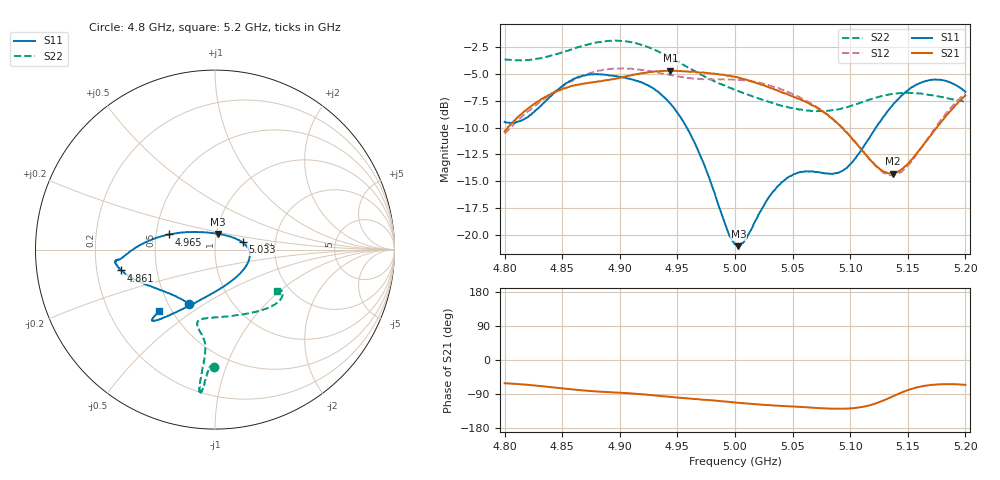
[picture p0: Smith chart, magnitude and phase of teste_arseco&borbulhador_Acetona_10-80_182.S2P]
! Network Analyzer HP8722D
! Hewlett-Packard
! Data name: Linha & Wilkinson
! Saver's name: Rodrigo Anjos
! Comments: Teste da utilização de aquisição
! continua pelo VNA HP8722D
! Time and date: 17/4/2025 15:52
!  Frequency  S11  S21  S12  S22
# HZ  S  MA R 50
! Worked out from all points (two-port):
!   401 points, 4.8 GHz to 5.2 GHz, reference 50 ohm
!   highest |S21| = -4.71 dB at 4.944 GHz (marker M1); lowest = -14.3 dB at 5.137 GHz (marker M2)
!   |S21| within 3 dB of the highest: 4.827 GHz to 5.063 GHz (236.4 MHz wide, 4.78 % of centre); 5.193393 GHz to end of sweep
!   lowest |S11| = -21.0 dB at 5.003 GHz (marker M3), VSWR 1.19, Z = 50.8 + j8.95 ohm
!   |S11| at or under -10 dB: 4.958 GHz to 5.122 GHz (164.2 MHz wide, 3.26 % of centre)
!   |S22| runs from -8.5 to -1.9 dB; largest |S21 - S12| = 0.87
!   S11 on the Smith chart (normalised r, x): 4.8 GHz: 0.63, -0.43; 4.861 GHz: 0.31, -0.10; 4.965 GHz: 0.59, +0.11; 5.033 GHz: 1.36, +0.11; 5.2 GHz: 0.43, -0.37
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4.8e9  0.3358 -115.4  0.3034 -61.4  0.2961 -175.6  0.6564 -90.5
4.819e9  0.3513 -135.5  0.3826 -65.3  0.3703 -174.7  0.6508 -92.2
4.861e9  0.5349 -167.4  0.4969 -78.3  0.5303 -178.1  0.7372 -94.5
4.867e9  0.5491 -169.8  0.5045 -80.1  0.5476 -179.2  0.7552 -94.6
4.898e9  0.5469 -174.0  0.5363 -86.0  0.5933 174.8  0.8017 -95.9
4.934e9  0.4603 -179.8  0.5764 -94.6  0.5692 170.9  0.7113 -96.3
4.944e9  0.408 175.7  0.5816 -97.4  0.5543 171.2  0.6685 -96.0
4.965e9  0.2689 161.7  0.5758 -103.0  0.5339 173.1  0.5784 -95.4
4.993e9  0.1066 116.0  0.5519 -110.1  0.5289 175.2  0.4897 -98.1
5e9  0.09063 91.9  0.5431 -112.1  0.5286 175.5  0.4731 -99.5
5.003e9  0.0888 79.9  0.5396 -113.1  0.527 175.2  0.4665 -100.2
5.009e9  0.09549 59.2  0.5294 -114.4  0.5236 175.3  0.4539 -101.4
5.033e9  0.1592 14.8  0.4785 -119.7  0.4897 173.9  0.4107 -103.5
5.049e9  0.1886 -0.9  0.4432 -122.6  0.4558 173.4  0.3894 -99.4
5.067e9  0.1977 -20.1  0.4017 -125.7  0.4072 173.0  0.3775 -89.7
5.096e9  0.2038 -70.6  0.303 -128.4  0.3051 174.7  0.3922 -67.2
5.123e9  0.32 -110.9  0.2086 -113.6  0.2078 -168.6  0.4368 -48.6
5.134e9  0.3848 -119.5  0.1937 -100.0  0.1898 -153.4  0.4509 -43.1
5.137e9  0.4028 -121.2  0.1933 -96.0  0.19 -148.5  0.4538 -41.9
5.15e9  0.4707 -126.8  0.2143 -79.7  0.2102 -129.5  0.4586 -37.2
5.17e9  0.5262 -131.1  0.2907 -65.9  0.2947 -112.1  0.4479 -32.5
5.2e9  0.4635 -132.2  0.4455 -65.6  0.4546 -107.5  0.4156 -34.1
